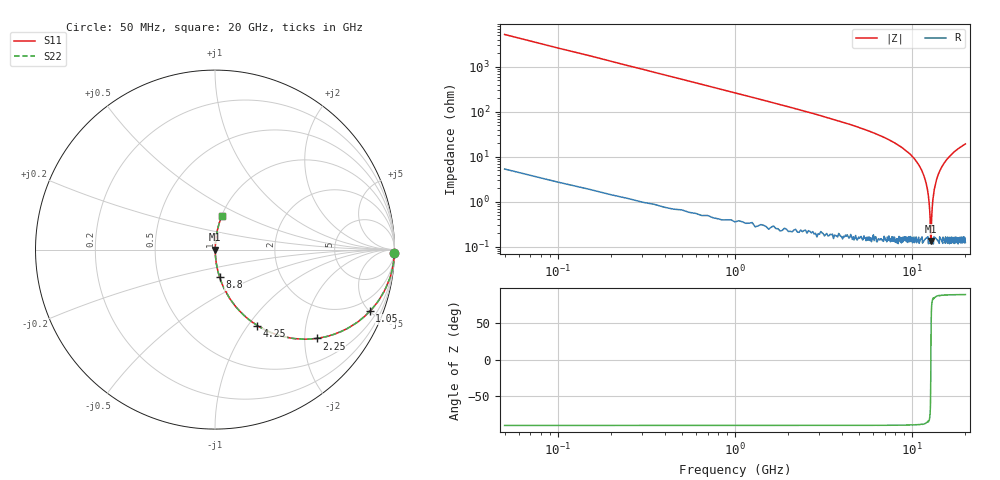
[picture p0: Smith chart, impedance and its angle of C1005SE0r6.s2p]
!	AVX	Thin	Film	Operation
!	Date:	March 2012
!	Description: Ultra-Miniature 01005 Size ACCU - P® Thin Film RF / Microwave Capacitor
!	Part Number:  C005YJ0R6ABSTR
!	Serial	Measurements
# MHZ S MA R 50
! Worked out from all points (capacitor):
!   400 points, 50 MHz to 20 GHz, reference 50 ohm
!   read as one part in series: C = 598 fF near 150 MHz
!   lowest |Z| = 132 mohm at 12.75 GHz (marker M1)
!   series resonance near 12.77 GHz, so ESL is about 260 pH
!   S11 on the Smith chart (normalised r, x): 50 MHz: open; 1.05 GHz: 1.01, -5.02; 2.25 GHz: 1.00, -2.29; 4.25 GHz: 1.00, -1.11; 8.8 GHz: 1.00, -0.32; 20 GHz: 1.00, +0.39
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50  1 -1.1  0.019 88.9  0.019 88.9  1 -1.1
150  0.998 -3.2  0.056 86.7  0.056 86.7  0.998 -3.2
350  0.991 -7.5  0.131 82.4  0.131 82.4  0.991 -7.5
1050  0.928 -21.7  0.37 68.2  0.37 68.2  0.928 -21.7
2250  0.752 -41.2  0.658 48.7  0.658 48.7  0.752 -41.2
3400  0.586 -54.0  0.809 35.9  0.809 35.9  0.586 -54.0
4250  0.485 -60.8  0.873 29.0  0.873 29.0  0.485 -60.8
6700  0.275 -73.7  0.96 16.0  0.96 16.0  0.275 -73.7
8800  0.156 -80.5  0.986 9.0  0.986 9.0  0.156 -80.5
10050  0.1 -83.5  0.994 5.7  0.994 5.7  0.1 -83.5
11250  0.053 -85.5  0.997 3.0  0.997 3.0  0.053 -85.5
12150  0.021 -84.9  0.998 1.2  0.998 1.2  0.021 -84.9
12550  0.007254 -78.5  0.999 0.4  0.999 0.4  0.007254 -78.5
12650  0.004072 -69.8  0.999 0.2  0.999 0.2  0.004072 -69.8
12750  0.001501 -21.8  0.999 0.0  0.999 0.0  0.001501 -21.8
12800  0.001754 37.3  0.999 -0.1  0.999 -0.1  0.001754 37.3
12900  0.004515 71.8  0.999 -0.2  0.999 -0.2  0.004515 71.8
13000  0.007628 79.0  0.999 -0.4  0.999 -0.4  0.007628 79.0
13350  0.019 84.6  0.998 -1.1  0.998 -1.1  0.019 84.6
14600  0.056 85.4  0.997 -3.2  0.997 -3.2  0.056 85.4
16700  0.112 82.8  0.992 -6.4  0.992 -6.4  0.112 82.8
20000  0.189 78.7  0.981 -10.9  0.981 -10.9  0.189 78.7
